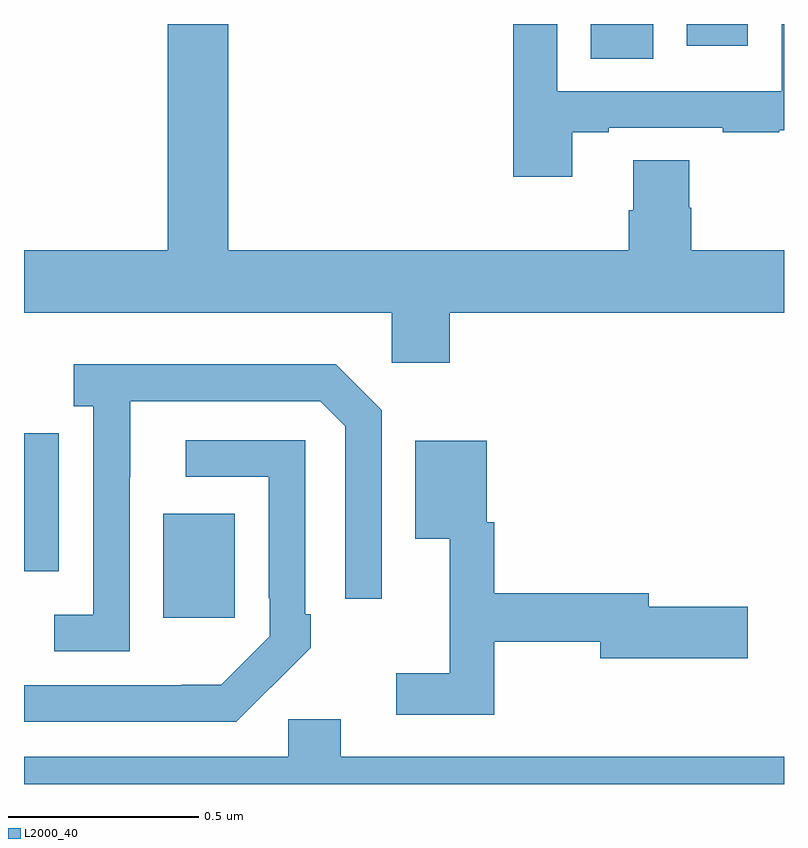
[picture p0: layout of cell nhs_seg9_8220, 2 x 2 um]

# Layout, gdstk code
import gdstk
lib = gdstk.Library(unit=1e-6, precision=1e-09)
def R(c, l, rs):  # rectangles x0, y0, x1, y1
    for r in rs: c.add(gdstk.rectangle(r[:2], r[2:], *l))
def P(c, l, *ps):  # polygons
    for p in ps: c.add(gdstk.Polygon(p, *l))
L2000_40 = (2000, 40)

nhs_seg9_8220 = lib.new_cell('nhs_seg9_8220')
R(nhs_seg9_8220, L2000_40, [(214.367,1208.937,214.555,1209.211), (215.492,1210.408,215.656,1210.5), (215.744,1210.443,215.905,1210.5)])
P(nhs_seg9_8220, L2000_40, [(215.443,1210.215),(215.539,1210.215),(215.539,1210.227),(215.839,1210.227),(215.839,1210.215),(215.987,1210.215),(215.987,1210.221),(216,1210.221),(216,1210.5),(215.994,1210.5),(215.994,1210.323),(215.403,1210.323),(215.403,1210.5),(215.287,1210.5),(215.287,1210.098),(215.443,1210.098)],
  [(215.751,1210.017),(215.751,1210.142),(215.603,1210.142),(215.603,1210.01),(215.591,1210.01),(215.591,1209.904),(214.538,1209.904),(214.538,1210.5),(214.378,1210.5),(214.378,1209.904),(214,1209.904),(214,1209.74),(214.968,1209.74),(214.968,1209.609),(215.12,1209.609),(215.12,1209.74),(216,1209.74),(216,1209.904),(215.756,1209.904),(215.756,1210.017)],
  [(214.278,1209.307),(214.279,1209.307),(214.279,1209.507),(214.779,1209.507),(214.845,1209.441),(214.845,1208.988),(214.941,1208.988),(214.941,1209.483),(214.82,1209.604),(214.131,1209.604),(214.131,1209.494),(214.182,1209.494),(214.182,1208.946),(214.08,1208.946),(214.08,1208.85),(214.278,1208.85)],
  [(214.092,1209.314),(214.091,1209.314),(214.091,1209.423),(214,1209.423),(214,1209.06),(214.092,1209.06)],
  [(214.649,1208.755),(214.65,1208.754),(214.755,1208.859),(214.755,1208.947),(214.74,1208.947),(214.74,1209.405),(214.425,1209.405),(214.425,1209.309),(214.644,1209.309),(214.644,1208.989),(214.647,1208.989),(214.647,1208.889),(214.519,1208.761),(214.415,1208.761),(214.415,1208.76),(214,1208.76),(214,1208.664),(214.558,1208.664)],
  [(215.237,1208.874),(215.516,1208.874),(215.516,1208.831),(215.905,1208.831),(215.905,1208.966),(215.644,1208.966),(215.644,1209.002),(215.237,1209.002),(215.237,1209.189),(215.218,1209.189),(215.218,1209.403),(215.03,1209.403),(215.03,1209.146),(215.12,1209.146),(215.12,1208.791),(214.98,1208.791),(214.98,1208.682),(215.237,1208.682)],
  [(216,1208.572),(214.834,1208.572),(214.834,1208.67),(214.695,1208.67),(214.695,1208.572),(214,1208.572),(214,1208.5),(216,1208.5)])

lib.write_gds('nhs_seg9_8220.gds')
